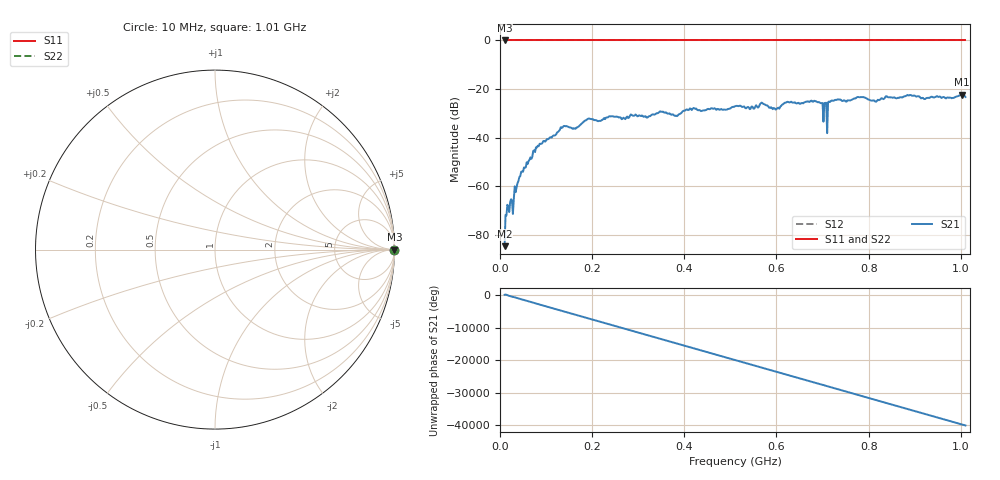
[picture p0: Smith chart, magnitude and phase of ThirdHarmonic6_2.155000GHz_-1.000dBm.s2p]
! 8/17/2025 1:43:52 AM
! C:\ANRITSUVNA\TEMP\TEMP.S2P
! CHANNEL.1
! TR.MEASUREMENT
! RAW.DATA
! RF.CORRECTION.OFF
! AVERAGING.OFF
! IF.BANDWIDTH: 5KHZ
! SWEEPTYPE:  FREQ.SWEEP(Linear)
! Reference Plane Port Info
! PORT:  PORT1  PORT2
! DISTANCE:  0  m  0  m
! TIME:  0  s  0  s
! PHASE.OFFSET:  0  deg.  0  deg.
! LOSS:  0  dB  0  dB
! REF.LOSS:  0  dB  0  dB
! REF.FREQ:  0  Hz  0  Hz
! Power Info
! POWER:  -20  dBm  -20  dBm
! EFF.POWER:  -20  dBm  -20  dBm
! SOURCE.ATTEN:  0  dB  0  dB
! TEST.ATTEN:  0  dB  0  dB
# GHZ S RI R 50.0
! FREQ.GHZ  S11RE  S11IM  S21RE  S21IM  S12RE  S12IM  S22RE  S22IM
!; PortSelection: Port_12
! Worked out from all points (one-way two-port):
!   501 points, 10 MHz to 1.01 GHz, reference 50 ohm
!   highest |S21| = -22.31 dB at 1.002 GHz (marker M1); lowest = -84.6 dB at 10 MHz (marker M2)
!   lowest |S11| = 0.0 dB at 10 MHz (marker M3)
!   |S11| at or under -10 dB: nowhere
!   |S22| runs from 0.0 to 0.0 dB; largest |S21 - S12| = 1.1
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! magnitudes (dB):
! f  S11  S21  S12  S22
! 10 MHz  0.0  -84.6  0.0  0.0
! 16 MHz  0.0  -67.6  0.0  0.0
! 30 MHz  0.0  -65.1  0.0  0.0
! 44 MHz  0.0  -55.8  0.0  0.0
! 76 MHz  0.0  -45.9  0.0  0.0
! 136 MHz  0.0  -35.8  0.0  0.0
! 178 MHz  0.0  -34.0  0.0  0.0
! 344 MHz  0.0  -29.8  0.0  0.0
! 382 MHz  0.0  -30.9  0.0  0.0
! 416 MHz  0.0  -28.6  0.0  0.0
! 510 MHz  0.0  -27.0  0.0  0.0
! 570 MHz  0.0  -25.8  0.0  0.0
! 596 MHz  0.0  -28.0  0.0  0.0
! 678 MHz  0.0  -25.2  0.0  0.0
! 696 MHz  0.0  -25.8  0.0  0.0
! 706 MHz  0.0  -25.7  0.0  0.0
! 714 MHz  0.0  -25.1  0.0  0.0
! 716 MHz  0.0  -25.3  0.0  0.0
! 724 MHz  0.0  -24.8  0.0  0.0
! 844 MHz  0.0  -23.4  0.0  0.0
! 1.002 GHz  0.0  -22.3  0.0  0.0
! 1.01 GHz  0.0  -23.2  0.0  0.0
